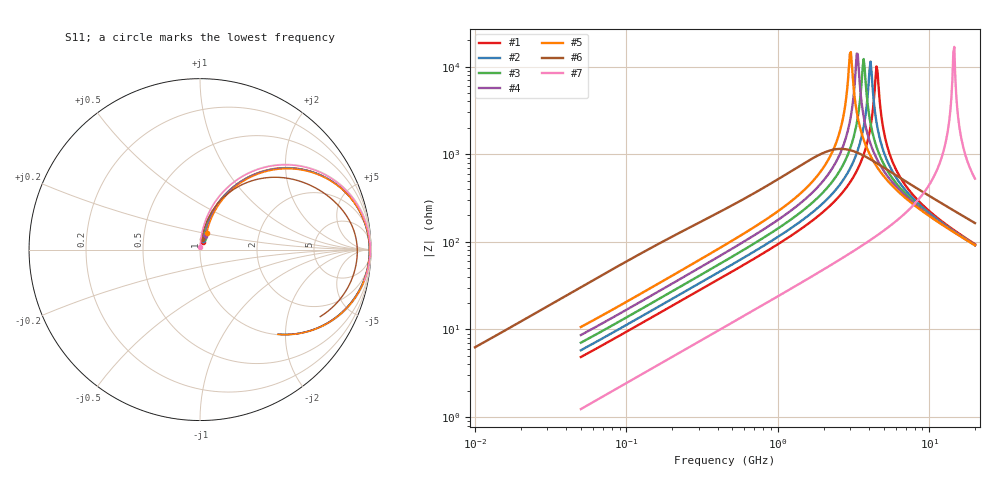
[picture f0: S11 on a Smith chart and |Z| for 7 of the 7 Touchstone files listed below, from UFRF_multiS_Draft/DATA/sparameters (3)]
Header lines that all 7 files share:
!These Parameters are Measured in Series Mode Connection
!  o--[Z]--o
!Port1  Port2
!  o-------o
# Hz S RI R 50
!Freq.(Hz) S11(Real) S11(Imag) S21(Real) S21(Imag) S12(Real) S12(Imag) S22(Real) S22(Imag)
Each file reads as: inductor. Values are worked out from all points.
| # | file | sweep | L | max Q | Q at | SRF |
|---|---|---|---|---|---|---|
| 1 | LQP15MN15NG02_series.s2p | 50 MHz to 20 GHz | 14.9 nH | 26.4 | 1.544 GHz | 4.472 GHz |
| 2 | LQP15MN18NG02_series.s2p | 50 MHz to 20 GHz | 17.8 nH | 24.3 | 1.476 GHz | 4.027 GHz |
| 3 | LQP15MN22NG02_series.s2p | 50 MHz to 20 GHz | 21.6 nH | 24.7 | 1.271 GHz | 3.626 GHz |
| 4 | LQP15MN27NG02_series.s2p | 50 MHz to 20 GHz | 26.4 nH | 24.4 | 1.197 GHz | 3.314 GHz |
| 5 | LQP15MN33NG02_series.s2p | 50 MHz to 20 GHz | 32.5 nH | 22.2 | 1.094 GHz | 2.985 GHz |
| 6 | LQW04CA90NK00_series.s2p | 10 MHz to 20 GHz | 98.5 nH | 15.8 | 25.86 MHz | 2.559 GHz |
| 7 | LQW18AN4N2B8Z_series.s2p | 50 MHz to 20 GHz | 3.91 nH | 117 | 3.265 GHz | 14.39 GHz |
